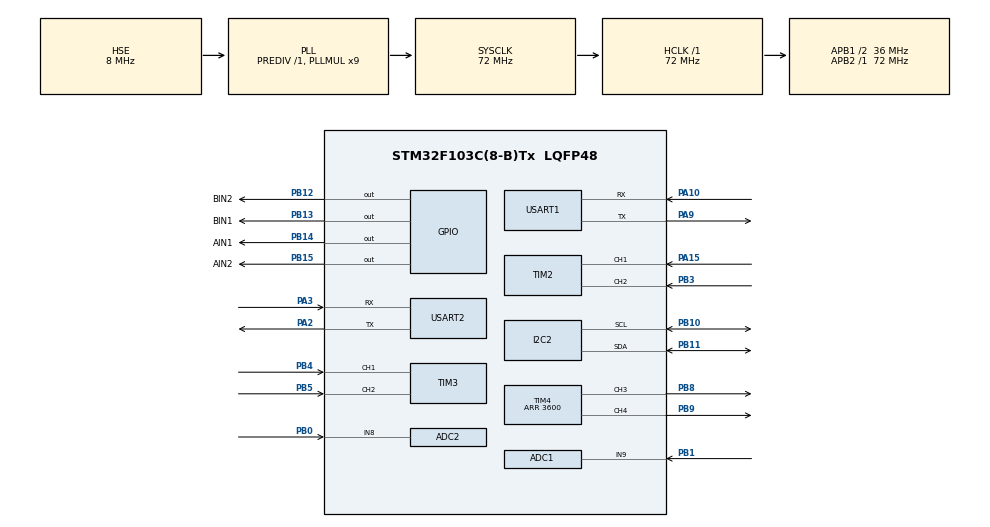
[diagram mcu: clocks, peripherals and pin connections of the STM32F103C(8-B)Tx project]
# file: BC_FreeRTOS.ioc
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ADC1.Channel-4\#ChannelRegularConversion=ADC_CHANNEL_9
ADC1.ExternalTrigConv=ADC_SOFTWARE_START
ADC1.NbrOfConversion=1
ADC1.NbrOfConversionFlag=1
ADC1.Rank-4\#ChannelRegularConversion=1
ADC1.SamplingTime-4\#ChannelRegularConversion=ADC_SAMPLETIME_1CYCLE_5
ADC1.master=1
ADC2.Channel-1\#ChannelRegularConversion=ADC_CHANNEL_8
ADC2.NbrOfConversionFlag=1
ADC2.Rank-1\#ChannelRegularConversion=1
ADC2.SamplingTime-1\#ChannelRegularConversion=ADC_SAMPLETIME_1CYCLE_5
Dma.Request0=USART2_RX
Dma.Request1=USART1_TX
Dma.USART1_TX.1.Direction=DMA_MEMORY_TO_PERIPH
Dma.USART1_TX.1.Instance=DMA1_Channel4
Dma.USART1_TX.1.MemDataAlignment=DMA_MDATAALIGN_BYTE
Dma.USART1_TX.1.MemInc=DMA_MINC_ENABLE
Dma.USART1_TX.1.Mode=DMA_CIRCULAR
Dma.USART1_TX.1.PeriphDataAlignment=DMA_PDATAALIGN_BYTE
Dma.USART1_TX.1.PeriphInc=DMA_PINC_DISABLE
Dma.USART1_TX.1.Priority=DMA_PRIORITY_LOW
Dma.USART2_RX.0.Direction=DMA_PERIPH_TO_MEMORY
Dma.USART2_RX.0.Instance=DMA1_Channel6
Dma.USART2_RX.0.MemDataAlignment=DMA_MDATAALIGN_BYTE
Dma.USART2_RX.0.MemInc=DMA_MINC_ENABLE
Dma.USART2_RX.0.Mode=DMA_NORMAL
Dma.USART2_RX.0.PeriphDataAlignment=DMA_PDATAALIGN_BYTE
Dma.USART2_RX.0.PeriphInc=DMA_PINC_DISABLE
Dma.USART2_RX.0.Priority=DMA_PRIORITY_LOW
FREERTOS.Tasks01=defaultTask,24,128,StartDefaultTask,Default,NULL,Dynamic,NULL,NULL
FREERTOS.configUSE_NEWLIB_REENTRANT=0
Mcu.Family=STM32F1
Mcu.Name=STM32F103C(8-B)Tx
Mcu.Package=LQFP48
NVIC.DMA1_Channel4_IRQn=true\:5\:0\:false\:false\:true\:true\:false\:true
NVIC.DMA1_Channel6_IRQn=true\:5\:0\:false\:false\:true\:true\:false\:true
NVIC.PriorityGroup=NVIC_PRIORITYGROUP_4
NVIC.TIM1_UP_IRQn=true\:15\:0\:false\:false\:true\:false\:false\:true
NVIC.TimeBase=TIM1_UP_IRQn
NVIC.TimeBaseIP=TIM1
PA10.Mode=Asynchronous
PA10.Signal=USART1_RX
PA13.Mode=Serial_Wire
PA13.Signal=SYS_JTMS-SWDIO
PA14.Mode=Serial_Wire
PA14.Signal=SYS_JTCK-SWCLK
PA15.Signal=S_TIM2_CH1_ETR
PA2.Mode=Asynchronous
PA2.Signal=USART2_TX
PA3.Mode=Asynchronous
PA3.Signal=USART2_RX
PA9.Mode=Asynchronous
PA9.Signal=USART1_TX
PB0.Signal=ADCx_IN8
PB1.Signal=ADCx_IN9
PB10.Mode=I2C
PB10.Signal=I2C2_SCL
PB11.Mode=I2C
PB11.Signal=I2C2_SDA
PB12.GPIO_Label=BIN2
PB12.Signal=GPIO_Output
PB13.GPIO_Label=BIN1
PB13.Signal=GPIO_Output
PB14.GPIO_Label=AIN1
PB14.Signal=GPIO_Output
PB15.GPIO_Label=AIN2
PB15.Signal=GPIO_Output
PB3.Signal=S_TIM2_CH2
PB4.Signal=S_TIM3_CH1
PB5.Signal=S_TIM3_CH2
PB8.Signal=S_TIM4_CH3
PB9.Signal=S_TIM4_CH4
PD0-OSC_IN.Mode=HSE-External-Oscillator
PD0-OSC_IN.Signal=RCC_OSC_IN
PD1-OSC_OUT.Mode=HSE-External-Oscillator
PD1-OSC_OUT.Signal=RCC_OSC_OUT
ProjectManager.HeapSize=0x200
ProjectManager.StackSize=0x400
ProjectManager.TargetToolchain=SW4STM32
RCC.ADCPresc=RCC_ADCPCLK2_DIV6
RCC.AHBFreq_Value=72000000
RCC.APB1CLKDivider=RCC_HCLK_DIV2
RCC.APB1Freq_Value=36000000
RCC.APB1TimFreq_Value=72000000
RCC.APB2Freq_Value=72000000
RCC.APB2TimFreq_Value=72000000
RCC.HCLKFreq_Value=72000000
RCC.PLLMUL=RCC_PLL_MUL9
RCC.PLLSourceVirtual=RCC_PLLSOURCE_HSE
RCC.SYSCLKFreq_VALUE=72000000
RCC.SYSCLKSource=RCC_SYSCLKSOURCE_PLLCLK
RCC.USBFreq_Value=72000000
SH.ADCx_IN8.0=ADC2_IN8,IN8
SH.ADCx_IN9.0=ADC1_IN9,IN9
SH.S_TIM2_CH1_ETR.0=TIM2_CH1,Encoder_Interface
SH.S_TIM2_CH2.0=TIM2_CH2,Encoder_Interface
SH.S_TIM3_CH1.0=TIM3_CH1,Encoder_Interface
SH.S_TIM3_CH2.0=TIM3_CH2,Encoder_Interface
SH.S_TIM4_CH3.0=TIM4_CH3,PWM Generation3 CH3
SH.S_TIM4_CH4.0=TIM4_CH4,PWM Generation4 CH4
TIM2.EncoderMode=TIM_ENCODERMODE_TI12
TIM2.IC1Filter=6
TIM2.IC2Filter=6
TIM3.EncoderMode=TIM_ENCODERMODE_TI12
TIM3.TIM_MasterSlaveMode=TIM_MASTERSLAVEMODE_DISABLE
TIM4.Channel-PWM\ Generation3\ CH3=TIM_CHANNEL_3
TIM4.Channel-PWM\ Generation4\ CH4=TIM_CHANNEL_4
TIM4.Period=3600
TIM4.Pulse-PWM\ Generation3\ CH3=1800
USART1.VirtualMode=VM_ASYNC
USART2.VirtualMode=VM_ASYNC
VP_FREERTOS_VS_CMSIS_V2.Mode=CMSIS_V2
VP_SYS_VS_tim1.Mode=TIM1
board=custom

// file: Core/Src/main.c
/* USER CODE BEGIN Header */
/**
  ******************************************************************************
  * @file           : main.c
  * @brief          : Main program body
  ******************************************************************************
  * @attention
  *
  * Copyright (c) 2023 STMicroelectronics.
  * All rights reserved.
  *
  * This software is licensed under terms that can be found in the LICENSE file
  * in the root directory of this software component.
  * If no LICENSE file comes with this software, it is provided AS-IS.
  *
  ******************************************************************************
  */
/* USER CODE END Header */
#include "main.h"
#include "cmsis_os.h"
#include "adc.h"
#include "dma.h"
#include "i2c.h"
#include "tim.h"
#include "usart.h"
#include "gpio.h"

void SystemClock_Config(void);
void MX_FREERTOS_Init(void);

int main(void)
{

  /* MCU Configuration--------------------------------------------------------*/

  /* Reset of all peripherals, Initializes the Flash interface and the Systick. */
  HAL_Init();

  /* Configure the system clock */
  SystemClock_Config();

  /* Initialize all configured peripherals */
  MX_GPIO_Init();
  MX_TIM2_Init();
  MX_TIM4_Init();
  MX_I2C2_Init();
  MX_TIM3_Init();
  MX_DMA_Init();
  MX_USART2_UART_Init();
  MX_USART1_UART_Init();
  MX_ADC1_Init();
  MX_ADC2_Init();
  /* USER CODE BEGIN 2 */
  HAL_ADCEx_Calibration_Start(&hadc1);  //adc校准
  /* USER CODE END 2 */

  /* Init scheduler */
  osKernelInitialize();  /* Call init function for freertos objects (in freertos.c) */
  MX_FREERTOS_Init();
  /* Start scheduler */
  osKernelStart();

  /* We should never get here as control is now taken by the scheduler */
  /* Infinite loop */
  while (1)
  {

  }
}

void SystemClock_Config(void)
{
  RCC_OscInitTypeDef RCC_OscInitStruct = {0};
  RCC_ClkInitTypeDef RCC_ClkInitStruct = {0};
  RCC_PeriphCLKInitTypeDef PeriphClkInit = {0};

  /** Initializes the RCC Oscillators according to the specified parameters
  * in the RCC_OscInitTypeDef structure.
  */
  RCC_OscInitStruct.OscillatorType = RCC_OSCILLATORTYPE_HSE;
  RCC_OscInitStruct.HSEState = RCC_HSE_ON;
  RCC_OscInitStruct.HSEPredivValue = RCC_HSE_PREDIV_DIV1;
  RCC_OscInitStruct.HSIState = RCC_HSI_ON;
  RCC_OscInitStruct.PLL.PLLState = RCC_PLL_ON;
  RCC_OscInitStruct.PLL.PLLSource = RCC_PLLSOURCE_HSE;
  RCC_OscInitStruct.PLL.PLLMUL = RCC_PLL_MUL9;
  if (HAL_RCC_OscConfig(&RCC_OscInitStruct) != HAL_OK)
  {
    Error_Handler();
  }
  /** Initializes the CPU, AHB and APB buses clocks
  */
  RCC_ClkInitStruct.ClockType = RCC_CLOCKTYPE_HCLK|RCC_CLOCKTYPE_SYSCLK
                              |RCC_CLOCKTYPE_PCLK1|RCC_CLOCKTYPE_PCLK2;
  RCC_ClkInitStruct.SYSCLKSource = RCC_SYSCLKSOURCE_PLLCLK;
  RCC_ClkInitStruct.AHBCLKDivider = RCC_SYSCLK_DIV1;
  RCC_ClkInitStruct.APB1CLKDivider = RCC_HCLK_DIV2;
  RCC_ClkInitStruct.APB2CLKDivider = RCC_HCLK_DIV1;

  if (HAL_RCC_ClockConfig(&RCC_ClkInitStruct, FLASH_LATENCY_2) != HAL_OK)
  {
    Error_Handler();
  }
  PeriphClkInit.PeriphClockSelection = RCC_PERIPHCLK_ADC;
  PeriphClkInit.AdcClockSelection = RCC_ADCPCLK2_DIV6;
  if (HAL_RCCEx_PeriphCLKConfig(&PeriphClkInit) != HAL_OK)
  {
    Error_Handler();
  }
}

void HAL_TIM_PeriodElapsedCallback(TIM_HandleTypeDef *htim)
{
  if (htim->Instance == TIM1) {
    HAL_IncTick();
  }
}

void Error_Handler(void)
{
  __disable_irq();
  while (1)
  {
  }
}

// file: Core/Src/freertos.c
/* USER CODE BEGIN Header */
/**
  ******************************************************************************
  * File Name          : freertos.c
  * Description        : Code for freertos applications
  ******************************************************************************
  * @attention
  *
  * Copyright (c) 2023 STMicroelectronics.
  * All rights reserved.
  *
  * This software is licensed under terms that can be found in the LICENSE file
  * in the root directory of this software component.
  * If no LICENSE file comes with this software, it is provided AS-IS.
  *
  ******************************************************************************
  */
/* USER CODE END Header */

#include "FreeRTOS.h"
#include "task.h"
#include "main.h"
#include "cmsis_os.h"

/* USER CODE BEGIN Includes */
#include "stdio.h"
#include "stdlib.h"
#include "encoder.h"
#include "usart.h"
#include "tb6612.h"
#include "adc.h"
#include "ssd1306.h"
#include "nodmp_mpu6050.h"
#include "string.h"
#include "car_bl_pid.h"
#define debug 0
#if 0  //DMP已经导入 但是flash好像空间不够
#include "../../Drivers/MPU6050_DMP//mpu6050.h"
    MPU6050_initialize();
    DMP_Init();
    Read_DMP();
    printf("%f\r\n",Pitch);
#endif

/* USER CODE END Includes */

/* USER CODE BEGIN Variables */
//读取数据任务
osThreadId_t readDataTaskHandle;
const osThreadAttr_t readDataTask_attributes = {
        .name = "readDataTask",
        .stack_size = 128 * 8,
        .priority = (osPriority_t) osPriorityNormal + 1,
};

//数据处理任务
osThreadId_t dataProcessTaskHandle;
const osThreadAttr_t dataProcessTask_attributes = {
        .name = "dataProcessTask",
        .stack_size = 128 * 8,
        .priority = (osPriority_t) osPriorityNormal + 2,
};

//队列
osMessageQueueId_t dataQueueHandle;
const osMessageQueueAttr_t dataQueue_attributes = {
        .name = "dataQueue"
};

//互斥锁
osMutexId_t dataMutexHandle;
const osMutexAttr_t dataMutex_attributes = {
        .name = "UartMutex"
};
/* USER CODE END Variables */
/* Definitions for defaultTask */
osThreadId_t defaultTaskHandle;
const osThreadAttr_t defaultTask_attributes = {
  .name = "defaultTask",
  .stack_size = 128 * 4,
  .priority = (osPriority_t) osPriorityNormal + 3,
};

/* USER CODE BEGIN FunctionPrototypes */
void ReadDataTask(void *argument);
void DataProcessTask(void *argument);
void ReadData(queue_msg *data,  MPU6050_t *MPU6050);
void OledShowInit(void);
/* USER CODE END FunctionPrototypes */
void StartDefaultTask(void *argument);
void MX_FREERTOS_Init(void); /* (MISRA C 2004 rule 8.1) */

void MX_FREERTOS_Init(void) {

  /* USER CODE BEGIN RTOS_MUTEX */
  /* add mutexes, ... */
    dataMutexHandle = osMutexNew(&dataMutex_attributes);
  /* USER CODE END RTOS_MUTEX */

  /* USER CODE BEGIN RTOS_QUEUES */
  /* add queues, ... */
  dataQueueHandle = osMessageQueueNew(1, sizeof(queue_msg), &dataQueue_attributes);
  /* USER CODE END RTOS_QUEUES */

  /* Create the thread(s) */
  /* creation of defaultTask */
  defaultTaskHandle = osThreadNew(StartDefaultTask, NULL, &defaultTask_attributes);

  /* USER CODE BEGIN RTOS_THREADS */
  /* add threads, ... */
  readDataTaskHandle = osThreadNew(ReadDataTask, NULL, &readDataTask_attributes);
  dataProcessTaskHandle = osThreadNew(DataProcessTask, NULL, &dataProcessTask_attributes);
  /* USER CODE END RTOS_THREADS */

}

/* USER CODE BEGIN Header_StartDefaultTask */
/**
  * @brief  Function implementing the defaultTask thread.
  * @param  argument: Not used
  * @retval None
  * @dicrption:  初始化任务
  */
/* USER CODE END Header_StartDefaultTask */
void StartDefaultTask(void *argument)
{
  /* USER CODE BEGIN StartDefaultTask */
  /* Infinite loop */
    MPU6050_Init(&hi2c2);     // 初始化mpu6050
    TB6612Init();                   // 初始化电机驱动(pwm)
    EncoderInit();                  // 初始化编码器(encoder)
    ssd1306_init();                 // 初始化OLED
    OledShowInit();                 // 初始化OLED显示
    osThreadExit();
    for (;;){
        ;
    }
  /* USER CODE END StartDefaultTask */
}

/* USER CODE BEGIN Application */
//读取处理显示任务(mpu6050数据 电机编码器数据)
void ReadDataTask(void *argument)
{
  /* USER CODE BEGIN ReadDataTask */
    /* Infinite loop */
    static queue_msg rdt_data = {
            .angle_x = 0,
            .gypo_x = 0,
            .encoder_right = 0,
            .encoder_left = 0
    };
    MPU6050_t MPU6050;
    for(;;){
        ReadData(&rdt_data, &MPU6050);
#if debug
        printf("angle_x :%f, gypo_x:%f\n", rdt_data.angle_x, rdt_data.gypo_x);
#endif
        osMessageQueuePut(dataQueueHandle, &rdt_data, 0, 0);
        osDelay(10);
    }
  /* USER CODE END ReadDataTask */
}
//数据处理任务 电机控制任务  pid控制 oled显示
void DataProcessTask(void *argument)
{
  /* USER CODE BEGIN DataProcessTask */
    static queue_msg dpt_data = {
            .angle_x = 0,
            .gypo_x = 0,
            .encoder_right = 0,
            .encoder_left = 0
    };
    for(;;){
        osMessageQueueGet(dataQueueHandle, &dpt_data, 0,osWaitForever);
        car_balance_oledshow(dpt_data.encoder_left, dpt_data.encoder_right, dpt_data.angle_x, dpt_data.gypo_x);
    }
  /* USER CODE END DataProcessTask */
}

void OledShowInit(void){
    ssd1306_set_cursor(32, 0);  //设置位置
    ssd1306_write_string(font7x10, "BlanceCar");
    ssd1306_set_cursor(0, 12);
    ssd1306_write_string(font7x10, "a_x:");
    ssd1306_set_cursor(64, 12);
    ssd1306_write_string(font7x10, "a_y:");
    ssd1306_set_cursor(5, 54);
    ssd1306_write_string(font7x10, "Design By FengLE!");
    ssd1306_update_screen();
}

void ReadData(queue_msg *data,  MPU6050_t *MPU6050){
    MPU6050_Read_All(&hi2c2, MPU6050);
    data->angle_x = MPU6050->KalmanAngleX;
    data->gypo_x = MPU6050->Gx;
    data->encoder_left = GetTim2Encoder();
    data->encoder_right = GetTim3Encoder();
}
/* USER CODE END Application */
